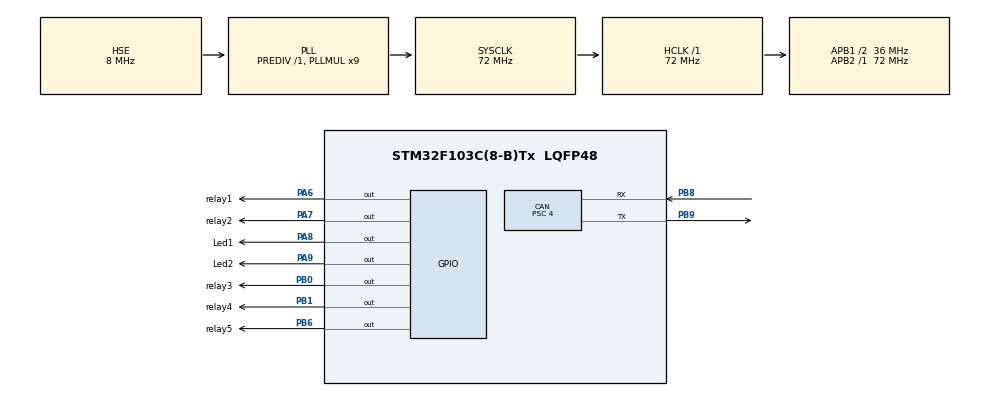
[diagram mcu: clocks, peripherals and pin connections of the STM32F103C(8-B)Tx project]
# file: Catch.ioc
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CAN.ABOM=ENABLE
CAN.BS1=CAN_BS1_5TQ
CAN.BS2=CAN_BS2_3TQ
CAN.CalculateTimeBit=1000
CAN.CalculateTimeQuantum=111.11111111111111
CAN.Prescaler=4
IWDG.Prescaler=IWDG_PRESCALER_32
IWDG.Reload=4000
Mcu.Family=STM32F1
Mcu.Name=STM32F103C(8-B)Tx
Mcu.Package=LQFP48
NVIC.PriorityGroup=NVIC_PRIORITYGROUP_4
NVIC.TIM2_IRQn=true\:0\:0\:false\:false\:true
NVIC.USB_LP_CAN1_RX0_IRQn=true\:0\:0\:true\:false\:true
PA13.Mode=Serial_Wire
PA13.Signal=SYS_JTMS-SWDIO
PA14.Mode=Serial_Wire
PA14.Signal=SYS_JTCK-SWCLK
PA6.GPIO_Label=relay1
PA6.Signal=GPIO_Output
PA7.GPIO_Label=relay2
PA7.Signal=GPIO_Output
PA8.GPIO_Label=Led1
PA8.Signal=GPIO_Output
PA9.GPIO_Label=Led2
PA9.Signal=GPIO_Output
PB0.GPIO_Label=relay3
PB0.Signal=GPIO_Output
PB1.GPIO_Label=relay4
PB1.Signal=GPIO_Output
PB6.GPIO_Label=relay5
PB6.Signal=GPIO_Output
PB8.Mode=Master
PB8.Signal=CAN_RX
PB9.Mode=Master
PB9.Signal=CAN_TX
PD0-OSC_IN.Mode=HSE-External-Oscillator
PD0-OSC_IN.Signal=RCC_OSC_IN
PD1-OSC_OUT.Mode=HSE-External-Oscillator
PD1-OSC_OUT.Signal=RCC_OSC_OUT
ProjectManager.HeapSize=0x200
ProjectManager.StackSize=0x400
ProjectManager.TargetToolchain=MDK-ARM V5
RCC.AHBFreq_Value=72000000
RCC.APB1CLKDivider=RCC_HCLK_DIV2
RCC.APB1Freq_Value=36000000
RCC.APB1TimFreq_Value=72000000
RCC.APB2Freq_Value=72000000
RCC.APB2TimFreq_Value=72000000
RCC.HCLKFreq_Value=72000000
RCC.PLLMUL=RCC_PLL_MUL9
RCC.PLLSourceVirtual=RCC_PLLSOURCE_HSE
RCC.SYSCLKFreq_VALUE=72000000
RCC.SYSCLKSource=RCC_SYSCLKSOURCE_PLLCLK
RCC.USBFreq_Value=72000000
TIM2.Period=20-1
TIM2.Prescaler=7200-1
VP_IWDG_VS_IWDG.Mode=IWDG_Activate
VP_TIM2_VS_ClockSourceINT.Mode=Internal
board=Catch

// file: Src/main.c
/**
  ******************************************************************************
  * File Name          : main.c
  * Description        : Main program body
  ******************************************************************************
  *
  * COPYRIGHT(c) 2018 STMicroelectronics
  *
  * Redistribution and use in source and binary forms, with or without modification,
  * are permitted provided that the following conditions are met:
  *   1. Redistributions of source code must retain the above copyright notice,
  *      this list of conditions and the following disclaimer.
  *   2. Redistributions in binary form must reproduce the above copyright notice,
  *      this list of conditions and the following disclaimer in the documentation
  *      and/or other materials provided with the distribution.
  *   3. Neither the name of STMicroelectronics nor the names of its contributors
  *      may be used to endorse or promote products derived from this software
  *      without specific prior written permission.
  *
  * THIS SOFTWARE IS PROVIDED BY THE COPYRIGHT HOLDERS AND CONTRIBUTORS "AS IS"
  * AND ANY EXPRESS OR IMPLIED WARRANTIES, INCLUDING, BUT NOT LIMITED TO, THE
  * IMPLIED WARRANTIES OF MERCHANTABILITY AND FITNESS FOR A PARTICULAR PURPOSE ARE
  * DISCLAIMED. IN NO EVENT SHALL THE COPYRIGHT HOLDER OR CONTRIBUTORS BE LIABLE
  * FOR ANY DIRECT, INDIRECT, INCIDENTAL, SPECIAL, EXEMPLARY, OR CONSEQUENTIAL
  * DAMAGES (INCLUDING, BUT NOT LIMITED TO, PROCUREMENT OF SUBSTITUTE GOODS OR
  * SERVICES; LOSS OF USE, DATA, OR PROFITS; OR BUSINESS INTERRUPTION) HOWEVER
  * CAUSED AND ON ANY THEORY OF LIABILITY, WHETHER IN CONTRACT, STRICT LIABILITY,
  * OR TORT (INCLUDING NEGLIGENCE OR OTHERWISE) ARISING IN ANY WAY OUT OF THE USE
  * OF THIS SOFTWARE, EVEN IF ADVISED OF THE POSSIBILITY OF SUCH DAMAGE.
  *
  ******************************************************************************
  */
#include "main.h"
#include "stm32f1xx_hal.h"
#include "can.h"
#include "iwdg.h"
#include "tim.h"
#include "gpio.h"

/* USER CODE BEGIN Includes */
#include "string.h"
/* USER CODE END Includes */

/* USER CODE BEGIN PV */
/* Private variables ---------------------------------------------------------*/
CONTROL_COMMAND Control_Command;
/* USER CODE END PV */

void SystemClock_Config(void);
void Error_Handler(void);

/* USER CODE BEGIN PFP */
/* Private function prototypes -----------------------------------------------*/

/* USER CODE END PFP */

int main(void)
{

  /* MCU Configuration----------------------------------------------------------*/

  /* Reset of all peripherals, Initializes the Flash interface and the Systick. */
  HAL_Init();

  /* Configure the system clock */
  SystemClock_Config();

  /* Initialize all configured peripherals */
  MX_GPIO_Init();
  MX_CAN_Init();
  MX_TIM2_Init();
  MX_IWDG_Init();

  /* USER CODE BEGIN 2 */
	HAL_Delay(500);//会有半秒延迟
	HAL_GPIO_WritePin(Led1_GPIO_Port, Led1_Pin,GPIO_PIN_SET);
	HAL_GPIO_WritePin(Led2_GPIO_Port, Led2_Pin,GPIO_PIN_SET);
	HAL_IWDG_Start(&hiwdg);

	//can
	HAL_CAN_Receive_IT(&hcan, CAN_FIFO0);
  HAL_TIM_Base_Start_IT(&htim2);

  /* USER CODE END 2 */

  /* Infinite loop */
  while (1)
  {

  /* USER CODE BEGIN 3 */

	//继电器赋值而已
	HAL_GPIO_WritePin(relay1_GPIO_Port, relay1_Pin, (GPIO_PinState)Control_Command.Relay_Command.Relay1_Data);
	HAL_GPIO_WritePin(relay2_GPIO_Port, relay2_Pin, (GPIO_PinState)Control_Command.Relay_Command.Relay2_Data);
	HAL_GPIO_WritePin(relay3_GPIO_Port, relay3_Pin, (GPIO_PinState)Control_Command.Relay_Command.Relay3_Data);
	HAL_GPIO_WritePin(relay4_GPIO_Port, relay4_Pin, (GPIO_PinState)Control_Command.Relay_Command.Relay4_Data);
	HAL_GPIO_WritePin(relay5_GPIO_Port, relay5_Pin, (GPIO_PinState)Control_Command.Relay_Command.Relay5_Data);

	//led而已
	static int counter=0;
	if( (++counter)%200==0)
	{
//		HAL_IWDG_Refresh(&hiwdg);
		HAL_GPIO_WritePin(Led1_GPIO_Port, Led1_Pin,GPIO_PIN_SET);
		HAL_GPIO_TogglePin(Led2_GPIO_Port, Led2_Pin);
	}

  //5ms控制一次足够
  HAL_Delay(5);
  }
  /* USER CODE END 3 */

}

/** System Clock Configuration
*/
void SystemClock_Config(void)
{

  RCC_OscInitTypeDef RCC_OscInitStruct;
  RCC_ClkInitTypeDef RCC_ClkInitStruct;

    /**Initializes the CPU, AHB and APB busses clocks
    */
  RCC_OscInitStruct.OscillatorType = RCC_OSCILLATORTYPE_LSI|RCC_OSCILLATORTYPE_HSE;
  RCC_OscInitStruct.HSEState = RCC_HSE_ON;
  RCC_OscInitStruct.HSEPredivValue = RCC_HSE_PREDIV_DIV1;
  RCC_OscInitStruct.HSIState = RCC_HSI_ON;
  RCC_OscInitStruct.LSIState = RCC_LSI_ON;
  RCC_OscInitStruct.PLL.PLLState = RCC_PLL_ON;
  RCC_OscInitStruct.PLL.PLLSource = RCC_PLLSOURCE_HSE;
  RCC_OscInitStruct.PLL.PLLMUL = RCC_PLL_MUL9;
  if (HAL_RCC_OscConfig(&RCC_OscInitStruct) != HAL_OK)
  {
    Error_Handler();
  }

    /**Initializes the CPU, AHB and APB busses clocks
    */
  RCC_ClkInitStruct.ClockType = RCC_CLOCKTYPE_HCLK|RCC_CLOCKTYPE_SYSCLK
                              |RCC_CLOCKTYPE_PCLK1|RCC_CLOCKTYPE_PCLK2;
  RCC_ClkInitStruct.SYSCLKSource = RCC_SYSCLKSOURCE_PLLCLK;
  RCC_ClkInitStruct.AHBCLKDivider = RCC_SYSCLK_DIV1;
  RCC_ClkInitStruct.APB1CLKDivider = RCC_HCLK_DIV2;
  RCC_ClkInitStruct.APB2CLKDivider = RCC_HCLK_DIV1;

  if (HAL_RCC_ClockConfig(&RCC_ClkInitStruct, FLASH_LATENCY_2) != HAL_OK)
  {
    Error_Handler();
  }

    /**Configure the Systick interrupt time
    */
  HAL_SYSTICK_Config(HAL_RCC_GetHCLKFreq()/1000);

    /**Configure the Systick
    */
  HAL_SYSTICK_CLKSourceConfig(SYSTICK_CLKSOURCE_HCLK);

  /* SysTick_IRQn interrupt configuration */
  HAL_NVIC_SetPriority(SysTick_IRQn, 0, 0);
}

/* USER CODE BEGIN 4 */
void HAL_TIM_PeriodElapsedCallback(TIM_HandleTypeDef *htim)
{
	if (htim->Instance == htim2.Instance)
	{
				//HAL_GPIO_TogglePin(Led1_GPIO_Port, Led1_Pin);

		//	//can发送 判断堵塞
 		if(CAN1->ESR)
		{
				CAN1->MCR |= 0x02;
				CAN1->MCR &= 0xFD;
		}
		if(CAN1->TSR & 0x1C000000)
		{
		  CanTxMsgTypeDef   TxMessage;
			hcan.pTxMsg = &TxMessage;
			hcan.pTxMsg->StdId = 0x100+BASE_MOTOR_ID;
			hcan.pTxMsg->RTR = CAN_RTR_DATA;
			hcan.pTxMsg->IDE = CAN_ID_STD;
			hcan.pTxMsg->DLC = 5;

			memcpy(hcan.pTxMsg->Data,&Control_Command.Relay_Command,5);

	    HAL_CAN_Transmit(&hcan, 0x24);
		}
	}
}
/* USER CODE END 4 */

void Error_Handler(void)
{
  while(1)
  {
  }
}

/************************ (C) COPYRIGHT STMicroelectronics *****END OF FILE****/
